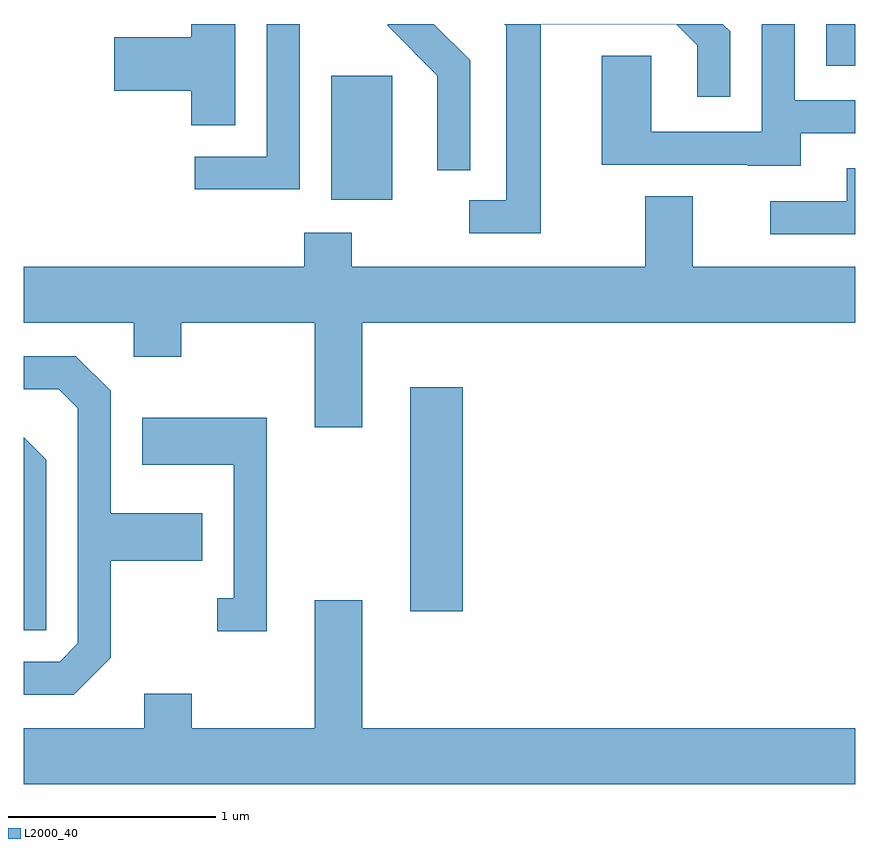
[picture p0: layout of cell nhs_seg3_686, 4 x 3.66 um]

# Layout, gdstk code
import gdstk
lib = gdstk.Library(unit=1e-6, precision=1e-09)
def R(c, l, rs):  # rectangles x0, y0, x1, y1
    for r in rs: c.add(gdstk.rectangle(r[:2], r[2:], *l))
def P(c, l, *ps):  # polygons
    for p in ps: c.add(gdstk.Polygon(p, *l))
L2000_40 = (2000, 40)

nhs_seg3_686 = lib.new_cell('nhs_seg3_686')
R(nhs_seg3_686, L2000_40, [(207.471,1129.066,207.724,1130.144), (207.091,1131.046,207.384,1131.644), (209.471,1131.691,209.611,1131.892)])
P(nhs_seg3_686, L2000_40, [(207.759,1131.717),(207.584,1131.892),(207.361,1131.892),(207.361,1131.884),(207.601,1131.644),(207.601,1131.188),(207.759,1131.188)],
  [(206.629,1131.892),(206.416,1131.892),(206.416,1131.829),(206.046,1131.829),(206.046,1131.571),(206.416,1131.571),(206.416,1131.406),(206.629,1131.406)],
  [(206.939,1131.892),(206.781,1131.892),(206.781,1131.254),(206.433,1131.254),(206.433,1131.096),(206.939,1131.096)],
  [(208.099,1131.891),(208.749,1131.891),(208.851,1131.789),(208.851,1131.543),(209.009,1131.543),(209.009,1131.857),(208.974,1131.892),(207.923,1131.892),(207.931,1131.884),(207.931,1131.044),(207.753,1131.044),(207.753,1130.886),(208.099,1130.886)],
  [(209.349,1131.366),(209.611,1131.366),(209.611,1131.524),(209.319,1131.524),(209.319,1131.892),(209.161,1131.892),(209.161,1131.374),(208.629,1131.374),(208.629,1131.739),(208.391,1131.739),(208.391,1131.216),(209.095,1131.216),(209.095,1131.211),(209.349,1131.211)],
  [(209.611,1131.199),(209.571,1131.199),(209.571,1131.039),(209.203,1131.039),(209.203,1130.881),(209.611,1130.881)],
  [(207.239,1130.456),(209.611,1130.456),(209.611,1130.724),(208.829,1130.724),(208.829,1131.064),(208.601,1131.064),(208.601,1130.724),(207.189,1130.724),(207.189,1130.889),(206.961,1130.889),(206.961,1130.724),(205.611,1130.724),(205.611,1130.456),(206.141,1130.456),(206.141,1130.291),(206.369,1130.291),(206.369,1130.456),(207.011,1130.456),(207.011,1129.951),(207.239,1129.951)],
  [(206.029,1128.844),(206.029,1129.311),(206.469,1129.311),(206.469,1129.539),(206.029,1129.539),(206.029,1130.127),(205.862,1130.294),(205.611,1130.294),(205.611,1130.136),(205.779,1130.136),(205.871,1130.044),(205.871,1128.912),(205.784,1128.824),(205.611,1128.824),(205.611,1128.666),(205.852,1128.666)],
  [(206.779,1129.999),(206.181,1129.999),(206.181,1129.771),(206.621,1129.771),(206.621,1129.129),(206.543,1129.129),(206.543,1128.971),(206.779,1128.971)],
  [(205.719,1129.797),(205.611,1129.905),(205.611,1128.976),(205.719,1128.976)],
  [(209.611,1128.504),(207.239,1128.504),(207.239,1129.119),(207.011,1129.119),(207.011,1128.504),(206.419,1128.504),(206.419,1128.669),(206.191,1128.669),(206.191,1128.504),(205.611,1128.504),(205.611,1128.236),(209.611,1128.236)])

lib.write_gds('nhs_seg3_686.gds')
